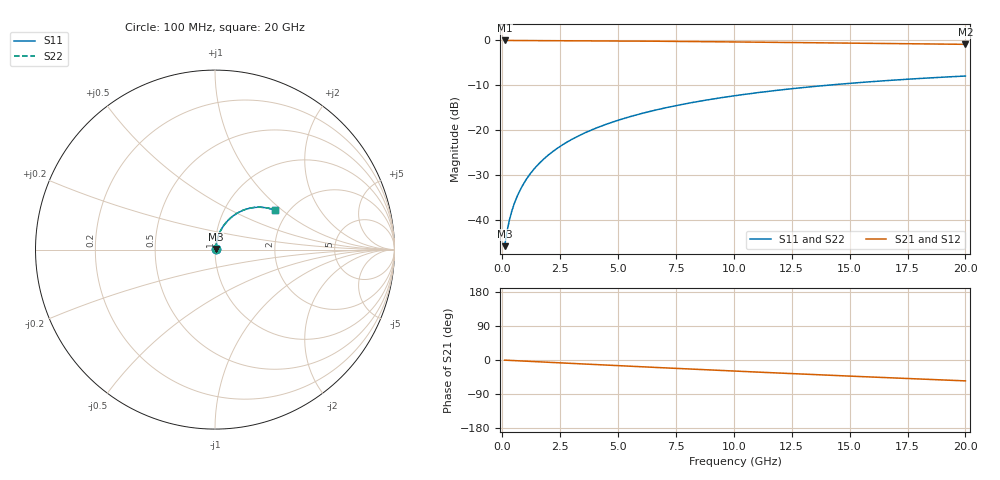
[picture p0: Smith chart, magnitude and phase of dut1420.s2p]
! Touchstone file exported from HFSS 2026.1.0
!  File:  C:/ffzhzh/LocalFiles/Ansys_Project_Files/temp_train_BSMRDL_1420_1783180215_51560.aedt
!  Generated:  11:51:37 PM Jul  4, 2026
!  Design:  BSMRDL
!  Project:  temp_train_BSMRDL_1420_1783180215_51560
! Variables:
!  h_bsmrdl = 3.41um
!  h_ox = 20um
!  h_rdl = 5um
!  h_sub = 80um
!  h_tmrdl = 5um
!  h_tsv = 80um
!  h_via = 3um
!  l_bsmrdl = 881.28um
!  l_sub = 1281.28um
!  l_tmrdl = 200um
!  m_sub = 200um
!  pitch = 43.5um
!  r_tsv = 6um
!  s_tmrdl = 10um
!  w_bsmrdl = 23.18um
!  w_sub = 500um
!  w_tmrdl = 12um
!  x_tsv_center1 = 206um
!  x_tsv_center2 = 1110.46um
!  x_tsv_center3 = 1322.46um
!  x_tsv_center4 = 2226.92um
!  x_tsv_center5 = 2438.92um
!  x_tsv_center6 = 3343.38um
# GHz S MA R 50.000000
! Terminal data exported
! Port[1] = BSM_RDL1_1_T1
! Port[2] = BSM_RDL1_1_T2
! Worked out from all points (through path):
!   200 points, 100 MHz to 20 GHz, reference 50 ohm
!   highest |S21| = -0.04 dB at 100 MHz (marker M1); lowest = -0.9 dB at 20 GHz (marker M2)
!   group delay of S21, straight-line fit = 7.65 ps
!   lowest |S11| = -45.8 dB at 100 MHz (marker M3), VSWR 1.01, Z = 50.4 + j0.304 ohm
!   |S11| at or under -10 dB: start of sweep to 14.02 GHz
!   |S22| runs from -45.8 to -7.9 dB; largest |S21 - S12| = 2.7e-15
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0.1  0.00515 35.8  0.9958 -0.3  0.9958 -0.3  0.00515 35.8
! Gamma 0 0 0 0
! Port Impedance 50 0 50 0
0.2  0.007396 52.8  0.9956 -0.6  0.9956 -0.6  0.007396 52.8
0.3  0.009868 60.8  0.9953 -0.9  0.9953 -0.9  0.009868 60.8
0.4  0.01236 65.5  0.995 -1.3  0.995 -1.3  0.01236 65.5
0.5  0.01486 68.5  0.9948 -1.5  0.9948 -1.5  0.01485 68.5
0.6  0.01736 70.8  0.9947 -1.8  0.9947 -1.8  0.01736 70.8
0.8  0.02241 73.7  0.9944 -2.4  0.9944 -2.4  0.02241 73.7
1.1  0.03008 76.0  0.994 -3.3  0.994 -3.3  0.03008 76.0
1.3  0.03524 76.9  0.9938 -3.9  0.9938 -3.9  0.03524 76.9
1.6  0.043 77.4  0.9933 -4.8  0.9933 -4.8  0.043 77.4
2.1  0.05595 77.5  0.9924 -6.3  0.9924 -6.3  0.05595 77.5
2.7  0.07142 76.8  0.9911 -8.1  0.9911 -8.1  0.07142 76.8
3.5  0.09183 75.2  0.9889 -10.5  0.9889 -10.5  0.09183 75.2
4.2  0.1094 73.6  0.9866 -12.6  0.9866 -12.6  0.1094 73.6
5  0.1291 71.5  0.9837 -14.9  0.9837 -14.9  0.1291 71.5
5.9  0.1508 69.2  0.9799 -17.5  0.9799 -17.5  0.1508 69.2
6.8  0.1718 66.7  0.9758 -20.1  0.9758 -20.1  0.1718 66.8
8.3  0.2055 62.7  0.9682 -24.4  0.9682 -24.4  0.2055 62.7
10.1  0.2434 57.9  0.9584 -29.4  0.9584 -29.4  0.2434 57.9
13.4  0.3056 49.3  0.9392 -38.3  0.9392 -38.3  0.3056 49.3
16.7  0.3581 41.0  0.9199 -46.9  0.9199 -46.9  0.358 41.0
20  0.4007 33.0  0.902 -55.1  0.902 -55.1  0.4007 33.0
